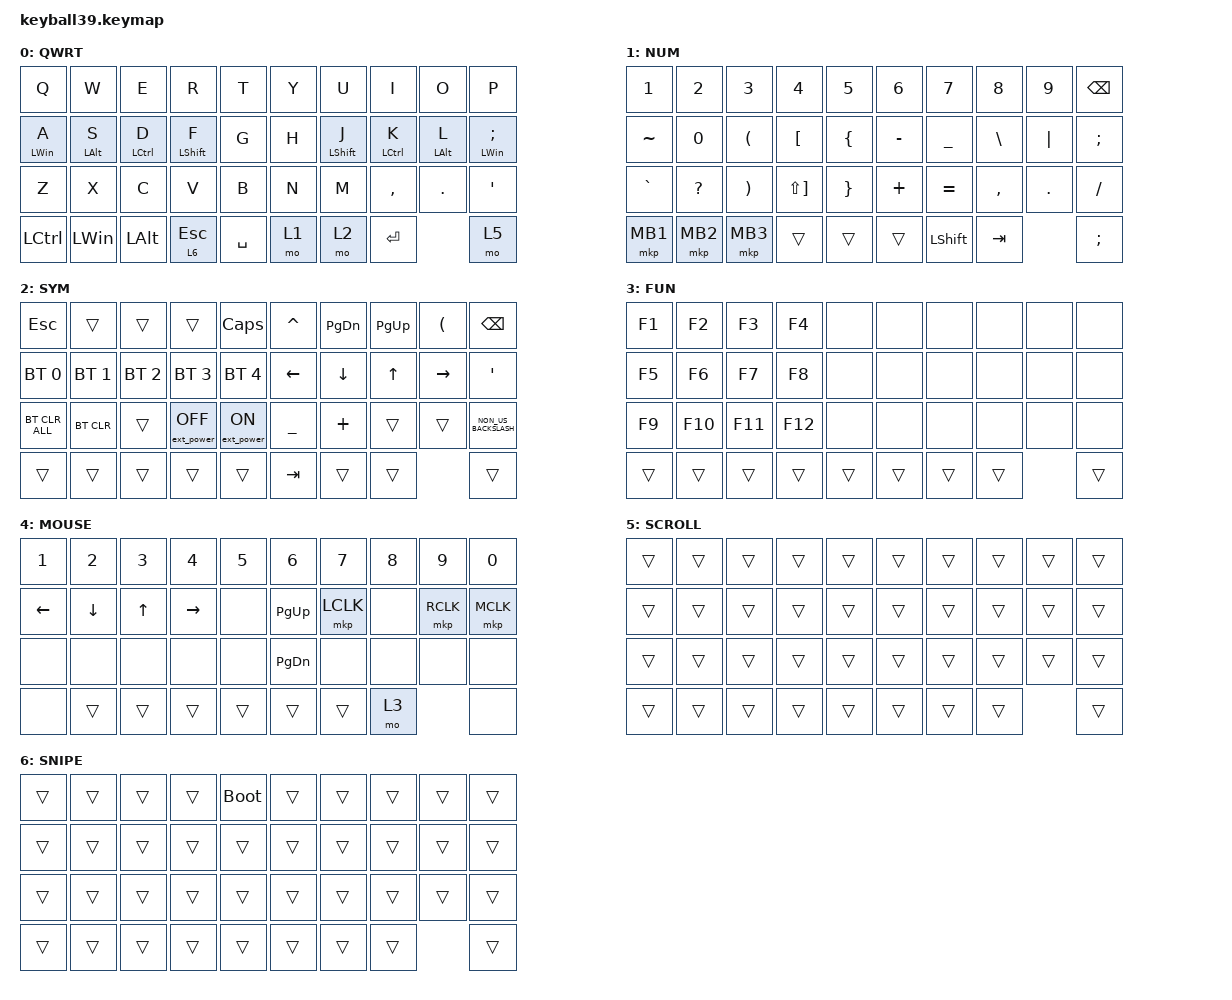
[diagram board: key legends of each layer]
#define DEFAULT 0
#define NUM     1
#define SYM     2
#define FUN     3
#define MOUSE   4
#define SCROLL  5
#define SNIPE   6

#include <behaviors/mouse_keys.dtsi>
#include <dt-bindings/zmk/mouse.h>
#include <behaviors.dtsi>
#include <dt-bindings/zmk/bt.h>
#include <dt-bindings/zmk/ext_power.h>
#include <dt-bindings/zmk/keys.h>
#include <dt-bindings/zmk/pointing.h>

&nice_view_spi { cs-gpios = <&pro_micro 1 GPIO_ACTIVE_HIGH>; };

&lt {
    tapping-term-ms = <240>;
    flavor = "balanced";
    quick-tap-ms = <150>;
};

&mt {
    tapping-term-ms = <200>;
    flavor = "tap-preferred";
    quick-tap-ms = <150>;
};

&caps_word { continue-list = <UNDERSCORE MINUS>; };

/ {
    // custom shift using mod-morph 

    behaviors {
        cmqus: comma_question {
            compatible = "zmk,behavior-mod-morph";
            label = "COMMA_QUESTION";
            #binding-cells = <0>;
            bindings = <&kp COMMA>, <&kp QUESTION>;

            mods = <(MOD_LSFT|MOD_RSFT)>;
        };

        dtsmi: dot_semi {
            compatible = "zmk,behavior-mod-morph";
            label = "DOT_SEMI";
            #binding-cells = <0>;
            bindings = <&kp DOT>, <&kp SEMI>;

            mods = <(MOD_LSFT|MOD_RSFT)>;
        };
    };

    macros {
        Hiragana: Hiragana {
            compatible = "zmk,behavior-macro";
            #binding-cells = <0>;
            bindings = <&kp LC(SPACE)>;
            label = "HIRAGANA";
        };
    };

    keymap {
        compatible = "zmk,keymap";

        default_layer {
            label = "QWRT";
            bindings = <
&kp Q           &kp W           &kp E        &kp R         &kp T                    &kp Y      &kp U             &kp I        &kp O           &kp P
&mt LEFT_WIN A  &mt LEFT_ALT S  &mt LCTRL D  &mt LSHIFT F  &kp G                    &kp H      &mt LEFT_SHIFT J  &mt LCTRL K  &mt LEFT_ALT L  &mt LEFT_WIN SEMICOLON
&kp Z           &kp X           &kp C        &kp V         &kp B                    &kp N      &kp M             &kp COMMA    &kp DOT         &kp SINGLE_QUOTE
&kp LCTRL       &kp LEFT_WIN    &kp LALT     &lt 6 ESCAPE  &kp SPACE  &mo 1  &mo 2  &kp ENTER                                                 &mo 5
            >;
        };

        number_layer {
            label = "NUM";
            bindings = <
&kp NUMBER_1  &kp NUMBER_2  &kp NUMBER_3           &kp NUMBER_4           &kp NUMBER_5                             &kp NUMBER_6  &kp NUMBER_7    &kp NUMBER_8   &kp NUMBER_9  &kp BACKSPACE
&kp TILDE     &kp N0        &kp LEFT_PARENTHESIS   &kp LEFT_BRACKET       &kp LEFT_BRACE                           &kp MINUS     &kp UNDERSCORE  &kp BACKSLASH  &kp PIPE      &kp SEMI
&kp GRAVE     &kp QUESTION  &kp RIGHT_PARENTHESIS  &kp LS(RIGHT_BRACKET)  &kp RIGHT_BRACE                          &kp PLUS      &kp EQUAL       &kp COMMA      &kp PERIOD    &kp SLASH
&mkp MB1      &mkp MB2      &mkp MB3               &trans                 &trans           &trans  &kp LEFT_SHIFT  &kp TAB                                                    &kp SEMICOLON
            >;
        };

        symbol_layer {
            label = "SYM";
            bindings = <
&kp ESCAPE      &trans        &trans        &trans             &kp CAPSLOCK                       &kp CARET       &kp PAGE_DOWN  &kp PAGE_UP   &kp LEFT_PARENTHESIS  &kp BACKSPACE
&bt BT_SEL 0    &bt BT_SEL 1  &bt BT_SEL 2  &bt BT_SEL 3       &bt BT_SEL 4                       &kp LEFT        &kp DOWN       &kp UP_ARROW  &kp RIGHT             &kp SQT
&bt BT_CLR_ALL  &bt BT_CLR    &trans        &ext_power EP_OFF  &ext_power EP_ON                   &kp UNDERSCORE  &kp PLUS       &trans        &trans                &kp NON_US_BACKSLASH
&trans          &trans        &trans        &trans             &trans            &kp TAB  &trans  &trans                                                             &trans
            >;
        };

        function_layer {
            label = "FUN";
            bindings = <
&kp F1  &kp F2   &kp F3   &kp F4   &none                   &none   &none  &none  &none  &none
&kp F5  &kp F6   &kp F7   &kp F8   &none                   &none   &none  &none  &none  &none
&kp F9  &kp F10  &kp F11  &kp F12  &none                   &none   &none  &none  &none  &none
&trans  &trans   &trans   &trans   &trans  &trans  &trans  &trans                       &trans
            >;
        };

        mouse_layer {
            label = "MOUSE";
            bindings = <
&kp N1          &kp N2          &kp N3        &kp N4     &kp N5                  &kp N6         &kp N7     &kp N8  &kp N9     &kp N0
&kp LEFT_ARROW  &kp DOWN_ARROW  &kp UP_ARROW  &kp RIGHT  &none                   &kp PAGE_UP    &mkp LCLK  &none   &mkp RCLK  &mkp MCLK
&none           &none           &none         &none      &none                   &kp PAGE_DOWN  &none      &none   &none      &none
&none           &trans          &trans        &trans     &trans  &trans  &trans  &mo 3                                        &none
            >;
        };

        scroll_layer {
            label = "SCROLL";
            bindings = <
&trans  &trans  &trans  &trans  &trans                  &trans  &trans  &trans  &trans  &trans
&trans  &trans  &trans  &trans  &trans                  &trans  &trans  &trans  &trans  &trans
&trans  &trans  &trans  &trans  &trans                  &trans  &trans  &trans  &trans  &trans
&trans  &trans  &trans  &trans  &trans  &trans  &trans  &trans                          &trans
            >;
        };

        snipe_layer {
            label = "SNIPE";
            bindings = <
&trans  &trans  &trans  &trans  &bootloader                  &trans  &trans  &trans  &trans  &trans
&trans  &trans  &trans  &trans  &trans                       &trans  &trans  &trans  &trans  &trans
&trans  &trans  &trans  &trans  &trans                       &trans  &trans  &trans  &trans  &trans
&trans  &trans  &trans  &trans  &trans       &trans  &trans  &trans                          &trans
            >;
        };
    };
};
